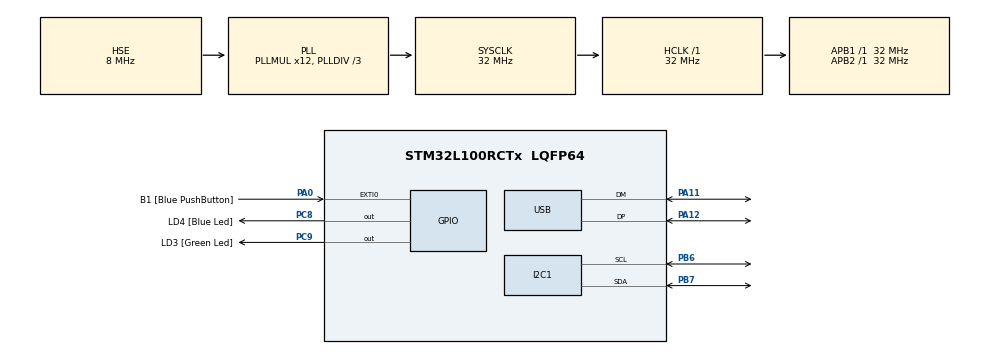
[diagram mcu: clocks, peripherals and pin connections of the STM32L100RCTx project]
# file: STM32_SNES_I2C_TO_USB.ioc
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Mcu.Family=STM32L1
Mcu.Name=STM32L100RCTx
Mcu.Package=LQFP64
NVIC.PriorityGroup=NVIC_PRIORITYGROUP_0
NVIC.USB_LP_IRQn=true\:0\:0\:false\:false\:true\:false\:true
PA0-WKUP1.GPIO_Label=B1 [Blue PushButton]
PA0-WKUP1.GPIO_ModeDefaultEXTI=GPIO_MODE_EVT_RISING
PA0-WKUP1.Signal=GPXTI0
PA11.Mode=Device
PA11.Signal=USB_DM
PA12.Mode=Device
PA12.Signal=USB_DP
PA13.GPIO_Label=SWDIO
PA13.Mode=Serial_Wire
PA13.Signal=SYS_JTMS-SWDIO
PA14.GPIO_Label=SWCLK
PA14.Mode=Serial_Wire
PA14.Signal=SYS_JTCK-SWCLK
PB3.GPIO_Label=SWO
PB3.Signal=SYS_JTDO-TRACESWO
PB6.Mode=I2C
PB6.Signal=I2C1_SCL
PB7.Mode=I2C
PB7.Signal=I2C1_SDA
PC14-OSC32_IN.GPIO_Label=PC14-OSC32_IN
PC14-OSC32_IN.Signal=RCC_OSC32_IN
PC15-OSC32_OUT.GPIO_Label=PC15-OSC32_OUT
PC15-OSC32_OUT.Signal=RCC_OSC32_OUT
PC8.GPIO_Label=LD4 [Blue Led]
PC8.Signal=GPIO_Output
PC9.GPIO_Label=LD3 [Green Led]
PC9.Signal=GPIO_Output
PH0-OSC_IN.GPIO_Label=PH0-OSC_IN
PH0-OSC_IN.Mode=HSE-External-Clock-Source
PH0-OSC_IN.Signal=RCC_OSC_IN
PH1-OSC_OUT.GPIO_Label=PH1-OSC_OUT
PH1-OSC_OUT.Signal=RCC_OSC_OUT
ProjectManager.HeapSize=0x200
ProjectManager.StackSize=0x400
ProjectManager.TargetToolchain=STM32CubeIDE
RCC.48MHZClocksFreq_Value=48000000
RCC.AHBFreq_Value=32000000
RCC.APB1Freq_Value=32000000
RCC.APB1TimFreq_Value=32000000
RCC.APB2Freq_Value=32000000
RCC.APB2TimFreq_Value=32000000
RCC.HCLKFreq_Value=32000000
RCC.HSE_VALUE=8000000
RCC.HSI_VALUE=16000000
RCC.LSEState=RCC_LSE_ON
RCC.LSE_VALUE=32768
RCC.MSI_VALUE=2097000
RCC.PLLDIV=RCC_PLL_DIV3
RCC.PLLMUL=RCC_PLL_MUL12
RCC.RTCClockSelectionVirtual=RCC_RTCCLKSOURCE_LSE
RCC.SYSCLKFreq_VALUE=32000000
RCC.SYSCLKSource=RCC_SYSCLKSOURCE_PLLCLK
RCC.USBOutput=48000000
RCC.VCOOutputFreq_Value=96000000
USB_DEVICE.CLASS_NAME_FS=HID
USB_DEVICE.VirtualMode=Hid
USB_DEVICE.VirtualModeFS=Hid_FS
VP_USB_DEVICE_VS_USB_DEVICE_HID_FS.Mode=HID_FS
board=STM32L100C-DISCO

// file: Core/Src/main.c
/* USER CODE BEGIN Header */
/**
  ******************************************************************************
  * @file           : main.c
  * @brief          : Main program body
  ******************************************************************************
  * @attention
  *
  * <h2><center>&copy; Copyright (c) 2021 STMicroelectronics.
  * All rights reserved.</center></h2>
  *
  * This software component is licensed by ST under Ultimate Liberty license
  * SLA0044, the "License"; You may not use this file except in compliance with
  * the License. You may obtain a copy of the License at:
  *                             www.st.com/SLA0044
  *
  ******************************************************************************
  */
/* USER CODE END Header */
#include "main.h"
#include "usb_device.h"

I2C_HandleTypeDef hi2c1;

void SystemClock_Config(void);
static void MX_GPIO_Init(void);
static void MX_I2C1_Init(void);

/* USER CODE BEGIN 0 */

#include "usbd_hid.h"
extern USBD_HandleTypeDef hUsbDeviceFS;

// https://github.com/leech001/micros/blob/master/Inc/micros.h
__STATIC_INLINE void DWT_Init(void)
{
	CoreDebug->DEMCR |= CoreDebug_DEMCR_TRCENA_Msk; // разрешаем использовать счётчик
	DWT->CTRL |= DWT_CTRL_CYCCNTENA_Msk;   // запускаем счётчик
}
__STATIC_INLINE void delay_us(uint32_t us)
{
	uint32_t us_count_tic =  us * (SystemCoreClock / 1000000U);
	DWT->CYCCNT = 0U;
	while(DWT->CYCCNT < us_count_tic);
}

// func from nintendo driver sources
#define DF3_BTN_R      1
#define DF3_BTN_START  2
#define DF3_BTN_SELECT 4
#define DF3_BTN_L      5
#define DF3_BTN_DOWN   6
#define DF3_BTN_RIGHT  7
#define DF3_BTN_UP     0
#define DF3_BTN_LEFT   1
#define DF3_BTN_X      3
#define DF3_BTN_A      4
#define DF3_BTN_Y      5
#define DF3_BTN_B      6
static unsigned char get_bit(unsigned char data, int bitnum)
{
	return (data & (1 << bitnum)) >> bitnum;
}

/* USER CODE END 0 */

int main(void)
{

  /* MCU Configuration--------------------------------------------------------*/

  /* Reset of all peripherals, Initializes the Flash interface and the Systick. */
  HAL_Init();

  /* Configure the system clock */
  SystemClock_Config();

  /* Initialize all configured peripherals */
  MX_GPIO_Init();
  MX_I2C1_Init();
  MX_USB_DEVICE_Init();
  /* USER CODE BEGIN 2 */

	DWT_Init();

    int connected = 0;
    unsigned char data_i2c[21];
    unsigned char data_usb[10];

	#define ADDR (0x52 << 1)
	#define DELAY 5

    #define DELAY_STEP1 200
	#define DELAY_STEP2 200
	#define DELAY_STEP3 400

    int r = 0, start = 0, select_ = 0, l = 0, down = 0, right = 0, up = 0, left = 0, x = 0, a = 0, y = 0, b = 0;

    HAL_StatusTypeDef ret;
    while(1)
    {
    	if(connected == 0)
    	{
    		delay_us(DELAY_STEP2);

			// -> 2b: f0 55
			data_i2c[0] = 0xf0;
			data_i2c[1] = 0x55;
			ret = HAL_I2C_Master_Transmit(&hi2c1, ADDR, data_i2c, 2, DELAY); // timeout in ticks, tick is 1 ms
			delay_us(DELAY_STEP1);
			if(ret != 0) continue;

    		// -> 2b: fb 00
			data_i2c[0] = 0xfb;
			data_i2c[1] = 0x00;
			ret = HAL_I2C_Master_Transmit(&hi2c1, ADDR, data_i2c, 2, DELAY);
			if(ret != 0) continue;
			delay_us(DELAY_STEP1);

			// -> 2b: fe 03 // 03 - data format, 3 in driver
			data_i2c[0] = 0xfe;
			data_i2c[1] = 0x03;
			ret = HAL_I2C_Master_Transmit(&hi2c1, ADDR, data_i2c, 2, DELAY);
			if(ret != 0) continue;
			delay_us(DELAY_STEP1);

			// -> 1b: fa
			data_i2c[0] = 0xfa;
			ret = HAL_I2C_Master_Transmit(&hi2c1, ADDR, data_i2c, 1, DELAY);
			if(ret != 0) continue;
			delay_us(DELAY_STEP2); // wait 150-200 us // in raspberry pi driver in this init sequence it waits only 10 us

			// <- 6b: ?? ?? ?? ?? df id // df - data format, 3 in driver; id - controller id, 1 in driver
			if(HAL_I2C_Master_Receive(&hi2c1, ADDR, data_i2c, 6, DELAY) == HAL_OK)
			{
				if((data_i2c[4] == 0x03) && (data_i2c[5] == 0x01))
				{
					connected = 1;
					//HAL_GPIO_WritePin(GPIOC, GPIO_PIN_9, (GPIO_PinState) 1); // 9 - green
				}
				delay_us(DELAY_STEP2);
			}
			else
			{
				connected = 0;
				//HAL_GPIO_WritePin(GPIOC, GPIO_PIN_9, (GPIO_PinState) 0); // 9 - green
			}
    	}

    	if(connected == 1)
    	{
    		// -> 1b: 00
    		data_i2c[0] = 0x06; // 0x00; // read address 0 -> 6
			ret = HAL_I2C_Master_Transmit(&hi2c1, ADDR, data_i2c, 1, DELAY);
			if(ret != 0)
			{
				connected = 0;
				//HAL_GPIO_WritePin(GPIOC, GPIO_PIN_9, (GPIO_PinState) 0); // 9 - green
				continue;
			}
			delay_us(DELAY_STEP2); // wait 150-200 us // in raspberry pi driver it waits only 120 us

			// <- 21b: ?? ?? ?? ??  ?? ?? b0 b1  00 00 00 00  00 00 00 00  00 00 00 00  00 // b0, b1 - buttons of snes mini controller
			if(HAL_I2C_Master_Receive(&hi2c1, ADDR, &data_i2c[6], 2, DELAY) == HAL_OK) // read 2 bytes instead 21 for mininize delay
			{
				// interpret data
				r      = !get_bit(data_i2c[6], DF3_BTN_R);
				start  = !get_bit(data_i2c[6], DF3_BTN_START);
				select_= !get_bit(data_i2c[6], DF3_BTN_SELECT);
				l      = !get_bit(data_i2c[6], DF3_BTN_L);
				down   = !get_bit(data_i2c[6], DF3_BTN_DOWN);
				right  = !get_bit(data_i2c[6], DF3_BTN_RIGHT);
				up     = !get_bit(data_i2c[7], DF3_BTN_UP);
				left   = !get_bit(data_i2c[7], DF3_BTN_LEFT);
				x      = !get_bit(data_i2c[7], DF3_BTN_X);
				a      = !get_bit(data_i2c[7], DF3_BTN_A);
				y      = !get_bit(data_i2c[7], DF3_BTN_Y);
				b      = !get_bit(data_i2c[7], DF3_BTN_B);

				// RAM Factory Store usb gamepad hub protocol
				// 1 byte - ID (1)
				data_usb[0] = 1;
				// 6 bytes - X, Y, Z, Rx, Ry, Rz (0x81 - min, 0x7F - max)
				data_usb[1] = left ? 0x81 : right ? 0x7F : 0; // left - 0x81, right - 0x7F, center = 0
				data_usb[2] = up ? 0x81: down ? 0x7F : 0; // up - 0x81, down - 0x7F, center = 0
				data_usb[3] = data_usb[4] = data_usb[5] = data_usb[6] = 0;
				// 2 bytes - 16 bits of buttons values
				data_usb[7] = (b << 0) | (a << 1) | (y << 2) | (x << 3) | (select_ << 4) | (start << 5) | (l << 6) | (r << 7);
				data_usb[8] = 0;
				USBD_HID_SendReport(&hUsbDeviceFS, data_usb, 9);

				delay_us(DELAY_STEP3 - DELAY_STEP2); // sub delay after sending read command
			}
			else
			{
				connected = 0;
				//HAL_GPIO_WritePin(GPIOC, GPIO_PIN_9, (GPIO_PinState) 0); // 9 - green
			}
    	}
    }

  /* USER CODE END 2 */

  /* Infinite loop */
  while (1)
  {

  }
}

void SystemClock_Config(void)
{
  RCC_OscInitTypeDef RCC_OscInitStruct = {0};
  RCC_ClkInitTypeDef RCC_ClkInitStruct = {0};

  /** Configure the main internal regulator output voltage
  */
  __HAL_PWR_VOLTAGESCALING_CONFIG(PWR_REGULATOR_VOLTAGE_SCALE1);
  /** Initializes the RCC Oscillators according to the specified parameters
  * in the RCC_OscInitTypeDef structure.
  */
  RCC_OscInitStruct.OscillatorType = RCC_OSCILLATORTYPE_HSE;
  RCC_OscInitStruct.HSEState = RCC_HSE_BYPASS;
  RCC_OscInitStruct.PLL.PLLState = RCC_PLL_ON;
  RCC_OscInitStruct.PLL.PLLSource = RCC_PLLSOURCE_HSE;
  RCC_OscInitStruct.PLL.PLLMUL = RCC_PLL_MUL12;
  RCC_OscInitStruct.PLL.PLLDIV = RCC_PLL_DIV3;
  if (HAL_RCC_OscConfig(&RCC_OscInitStruct) != HAL_OK)
  {
    Error_Handler();
  }
  /** Initializes the CPU, AHB and APB buses clocks
  */
  RCC_ClkInitStruct.ClockType = RCC_CLOCKTYPE_HCLK|RCC_CLOCKTYPE_SYSCLK
                              |RCC_CLOCKTYPE_PCLK1|RCC_CLOCKTYPE_PCLK2;
  RCC_ClkInitStruct.SYSCLKSource = RCC_SYSCLKSOURCE_PLLCLK;
  RCC_ClkInitStruct.AHBCLKDivider = RCC_SYSCLK_DIV1;
  RCC_ClkInitStruct.APB1CLKDivider = RCC_HCLK_DIV1;
  RCC_ClkInitStruct.APB2CLKDivider = RCC_HCLK_DIV1;

  if (HAL_RCC_ClockConfig(&RCC_ClkInitStruct, FLASH_LATENCY_1) != HAL_OK)
  {
    Error_Handler();
  }
}

static void MX_I2C1_Init(void)
{

  hi2c1.Instance = I2C1;
  hi2c1.Init.ClockSpeed = 100000;
  hi2c1.Init.DutyCycle = I2C_DUTYCYCLE_2;
  hi2c1.Init.OwnAddress1 = 0;
  hi2c1.Init.AddressingMode = I2C_ADDRESSINGMODE_7BIT;
  hi2c1.Init.DualAddressMode = I2C_DUALADDRESS_DISABLE;
  hi2c1.Init.OwnAddress2 = 0;
  hi2c1.Init.GeneralCallMode = I2C_GENERALCALL_DISABLE;
  hi2c1.Init.NoStretchMode = I2C_NOSTRETCH_DISABLE;
  if (HAL_I2C_Init(&hi2c1) != HAL_OK)
  {
    Error_Handler();
  }

}

static void MX_GPIO_Init(void)
{
  GPIO_InitTypeDef GPIO_InitStruct = {0};

  /* GPIO Ports Clock Enable */
  __HAL_RCC_GPIOC_CLK_ENABLE();
  __HAL_RCC_GPIOH_CLK_ENABLE();
  __HAL_RCC_GPIOA_CLK_ENABLE();
  __HAL_RCC_GPIOB_CLK_ENABLE();

  /*Configure GPIO pin Output Level */
  HAL_GPIO_WritePin(GPIOC, LD4_Pin|LD3_Pin, GPIO_PIN_RESET);

  /*Configure GPIO pin : B1_Pin */
  GPIO_InitStruct.Pin = B1_Pin;
  GPIO_InitStruct.Mode = GPIO_MODE_EVT_RISING;
  GPIO_InitStruct.Pull = GPIO_NOPULL;
  HAL_GPIO_Init(B1_GPIO_Port, &GPIO_InitStruct);

  /*Configure GPIO pins : LD4_Pin LD3_Pin */
  GPIO_InitStruct.Pin = LD4_Pin|LD3_Pin;
  GPIO_InitStruct.Mode = GPIO_MODE_OUTPUT_PP;
  GPIO_InitStruct.Pull = GPIO_NOPULL;
  GPIO_InitStruct.Speed = GPIO_SPEED_FREQ_LOW;
  HAL_GPIO_Init(GPIOC, &GPIO_InitStruct);

}

void Error_Handler(void)
{
  __disable_irq();
  while (1)
  {
  }
}

/************************ (C) COPYRIGHT STMicroelectronics *****END OF FILE****/
